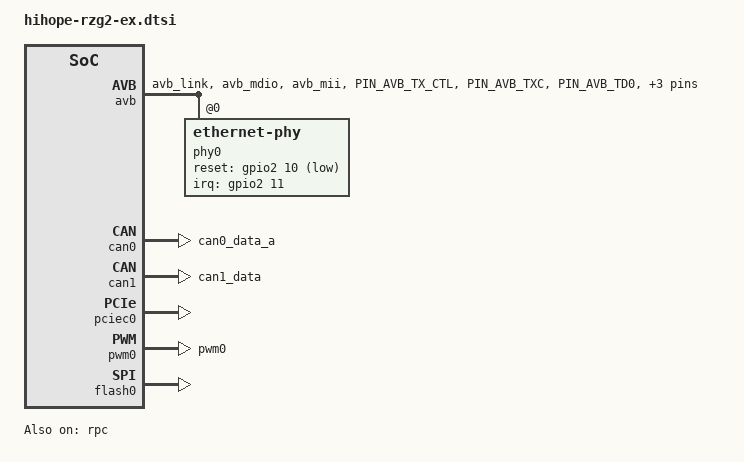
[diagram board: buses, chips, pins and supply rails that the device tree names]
// SPDX-License-Identifier: GPL-2.0
/*
 * Device Tree Source for the RZ/G2[HMN] HiHope sub board common parts
 *
 * Copyright (C) 2021 Renesas Electronics Corp.
 */

/ {
	aliases {
		ethernet0 = &avb;
		spi0 = &rpc;
	};

	chosen {
		bootargs = "ignore_loglevel rw root=/dev/nfs ip=on";
	};
};

&avb {
	pinctrl-0 = <&avb_pins>;
	pinctrl-names = "default";
	phy-handle = <&phy0>;
	phy-mode = "rgmii-txid";
	status = "okay";

	phy0: ethernet-phy@0 {
		reg = <0>;
		interrupt-parent = <&gpio2>;
		interrupts = <11 IRQ_TYPE_LEVEL_LOW>;
		reset-gpios = <&gpio2 10 GPIO_ACTIVE_LOW>;
	};
};

&can0 {
	pinctrl-0 = <&can0_pins>;
	pinctrl-names = "default";
	status = "okay";
};

&can1 {
	pinctrl-0 = <&can1_pins>;
	pinctrl-names = "default";
	status = "okay";
};

&pciec0 {
	status = "okay";
};

&pfc {
	pinctrl-0 = <&scif_clk_pins>;
	pinctrl-names = "default";

	avb_pins: avb {
		mux {
			groups = "avb_link", "avb_mdio", "avb_mii";
			function = "avb";
		};

		pins_mdio {
			groups = "avb_mdio";
			drive-strength = <24>;
		};

		pins_mii_tx {
			pins = "PIN_AVB_TX_CTL", "PIN_AVB_TXC", "PIN_AVB_TD0",
			       "PIN_AVB_TD1", "PIN_AVB_TD2", "PIN_AVB_TD3";
			drive-strength = <12>;
		};
	};

	can0_pins: can0 {
		groups = "can0_data_a";
		function = "can0";
	};

	can1_pins: can1 {
		groups = "can1_data";
		function = "can1";
	};

	pwm0_pins: pwm0 {
		groups = "pwm0";
		function = "pwm0";
	};
};

&pwm0 {
	pinctrl-0 = <&pwm0_pins>;
	pinctrl-names = "default";

	status = "okay";
};

&rpc {
	compatible = "renesas,rcar-gen3-rpc";
	num-cs = <1>;
	spi-max-frequency = <40000000>;
	#address-cells = <1>;
	#size-cells = <0>;
	status = "okay";

	flash0: spi-flash@0 {
		#address-cells = <1>;
		#size-cells = <1>;
		reg = <0>;
		compatible = "spi-flash", "jedec,spi-nor";
		spi-max-frequency = <40000000>;
		spi-tx-bus-width = <1>;
		spi-rx-bus-width = <1>;
	};
};
